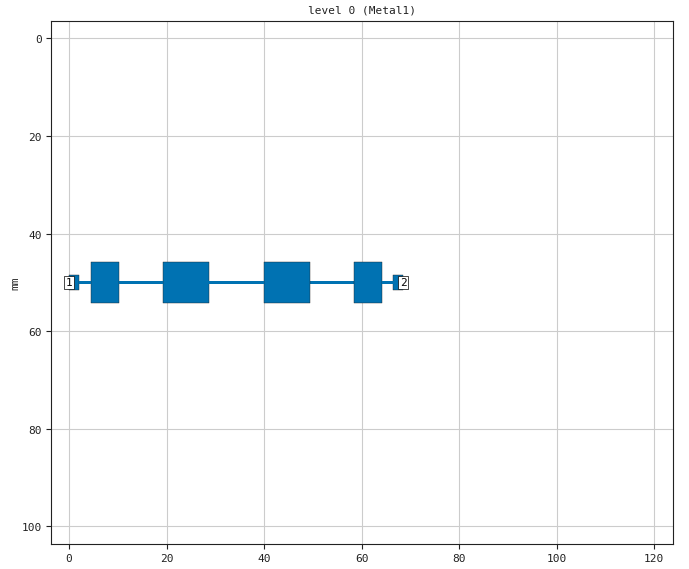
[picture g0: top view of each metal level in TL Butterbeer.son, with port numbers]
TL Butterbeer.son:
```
FTYP SONPROJ 19 ! Sonnet Project File
VER 18.53
HEADER
LIC SL6572cd2f
DAT 02/21/2024 18:25:30
BUILT_BY_CREATED xgeom 18.53-Lite 01/12/2024 14:59:48
BUILT_BY_SAVED sonnet 18.53-Lite
MDATE 02/21/2024 18:17:57
HDATE 02/21/2024 18:17:57
END HEADER
DIM
ANG DEG
CAP PF
CON /OH
FREQ GHZ
IND NH
LNG MM
RES OH
END DIM
CONTROL
VARSWP
OPTIONS  -dj
SPEED 0
CACHE_ABS 2
Q_ACC N
END CONTROL
GEO
TMET "Lossless" 0 SUP 0 0 0 0
BMET "Metal1" 2 NOR INF 0.5 1.6 
MET "Copper" 1 NOR 58000000 0.5 1.6 
BOX 1 68.5 100 1370 2000 20 0
      16 1 1 0 0 0 0 "Air"
      1.6 4.4 1 0.02 0 0 0 "FR-4"
TECHLAY METAL Metal1 <UNSPECIFIED> -2 -65534 
0 0 -1 N 132 1 1 100 100 0 0 0 Y
END
END
LORGN 0 100 U 
POR1 BOX
POLY 143 1
3
1 50 0 0 0 0 50 
POR1 BOX
POLY 145 1
1
2 50 0 0 0 68.5 50 
NUM 14
0 5 -1 N 28 1 1 100 100 0 0 0 Y
TLAYNAM Metal1 INH
120 59.98222
120.254 59.98222
120.254 60
120 60
120 59.98222
END
0 5 -1 N 38 1 1 100 100 0 0 0 Y
TLAYNAM Metal1 INH
77.973 62.05722
78.227 62.05722
78.227 62.075
77.973 62.075
77.973 62.05722
END
0 5 -1 N 40 1 1 100 100 0 0 0 Y
TLAYNAM Metal1 INH
80 89.98222
80.254 89.98222
80.254 90
80 90
80 89.98222
END
0 5 -1 N 140 1 1 100 100 0 0 0 Y
TLAYNAM Metal1 INH
19.2 45.85
28.6 45.85
28.6 54.15
19.2 54.15
19.2 45.85
END
0 5 -1 N 141 1 1 100 100 0 0 0 Y
TLAYNAM Metal1 INH
4.55 45.85
10.25 45.85
10.25 54.15
4.55 54.15
4.55 45.85
END
0 5 -1 N 142 1 1 100 100 0 0 0 Y
TLAYNAM Metal1 INH
58.45 49.65
49.45 49.65
49.45 50.35
58.45 50.35
58.45 49.65
END
0 5 -1 N 143 1 1 100 100 0 0 0 Y
TLAYNAM Metal1 INH
0 48.45
2.1 48.45
2.1 51.55
0 51.55
0 48.45
END
0 5 -1 N 144 1 1 100 100 0 0 0 Y
TLAYNAM Metal1 INH
10.2 49.65
19.2 49.65
19.2 50.35
10.2 50.35
10.2 49.65
END
0 5 -1 N 145 1 1 100 100 0 0 0 Y
TLAYNAM Metal1 INH
66.5 48.45
68.5 48.45
68.5 51.55
66.5 51.55
66.5 48.45
END
0 5 -1 N 146 1 1 100 100 0 0 0 Y
TLAYNAM Metal1 INH
2.1 49.65
4.5 49.65
4.5 50.35
2.1 50.35
2.1 49.65
END
0 5 -1 N 147 1 1 100 100 0 0 0 Y
TLAYNAM Metal1 INH
49.45 45.85
40.05 45.85
40.05 54.15
49.45 54.15
49.45 45.85
END
0 5 -1 N 148 1 1 100 100 0 0 0 Y
TLAYNAM Metal1 INH
28.55 49.65
40.05 49.65
40.05 50.35
28.55 50.35
28.55 49.65
END
0 5 -1 N 149 1 1 100 100 0 0 0 Y
TLAYNAM Metal1 INH
64.1 45.85
58.4 45.85
58.4 54.15
64.1 54.15
64.1 45.85
END
0 5 -1 N 150 1 1 100 100 0 0 0 Y
TLAYNAM Metal1 INH
66.55 49.65
64.15 49.65
64.15 50.35
66.55 50.35
66.55 49.65
END
END GEO
OPT
MAX 100
END OPT
VARSWP
ENABLED Y
FREQ N AY ABS_ENTRY UNK 
FREQ Y AN SWEEP 1.0 3.0 0.1
END
END VARSWP
```
